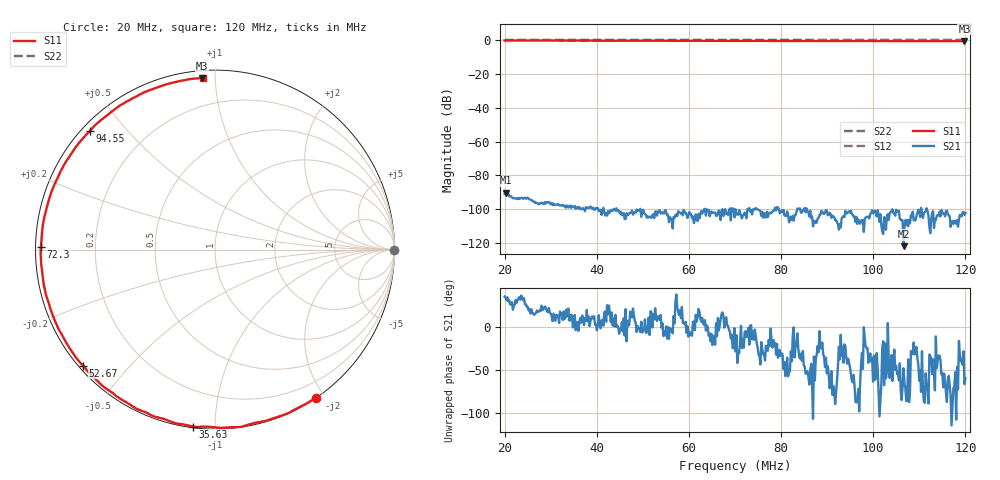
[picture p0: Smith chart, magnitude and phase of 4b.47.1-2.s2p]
! Anritsu VNA Master:  Model: MS2036C/10/77
! SN:  1601066
! /bd0/18may26.balun/4b.47.s2p
! Existing Calibration Information:
! TYPE:  Current Settings,  Active Cal Settings
! TIME:  05/26/2018 04:35:58 PM,  05/26/2018 04:28:16 PM
! INTERNAL TEMP:  56.0 C,  56.3 C
! # POINTS:  500,  500
! START FREQ:  20.000 MHz,  20.000 MHz
! STOP FREQ:  120.000 MHz,  120.000 MHz
! SOURCE POWER:  High,  High
! IFBW:  50 Hz,  50 Hz
! AVG FACTOR:  1 ,  1
! REF PLANE 1:  0 mm,  0 mm
! REF PLANE 2:  0 mm,  0 mm
! CAL TYPE:  Full S11,  Full S11
! CAL METHOD:  SOLT,  SOLT
! CAL LINE TYPE:  Coax,  Coax
! DUT PORT 1:  K-Conn(M),  K-Conn(M)
! DUT PORT 2:  K-Conn(M),  K-Conn(M)
! CAL STATUS:  OK: Accuracy High,  --
# GHZ S DB R 50.0
! FREQ.GHZ  S11DB  S11A  S21DB  S21A  S12DB  S12A  S22DB  S22A
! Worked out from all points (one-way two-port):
!   500 points, 20 MHz to 120 MHz, reference 50 ohm
!   highest |S21| = -90.17 dB at 20.2 MHz (marker M1); lowest = -121.9 dB at 106.6 MHz (marker M2)
!   lowest |S11| = -0.4 dB at 119.8 MHz (marker M3), VSWR 47.26, Z = 1.96 + j46.2 ohm
!   |S11| at or under -10 dB: nowhere
!   |S22| runs from 0.0 to 0.0 dB; largest |S21 - S12| = 1
!   S11 on the Smith chart (normalised r, x): 20 MHz: 0.01, -1.89; 35.63 MHz: 0.01, -0.88; 52.67 MHz: 0.01, -0.38; 72.3 MHz: 0.02, +0.01; 94.55 MHz: 0.02, +0.40; 120 MHz: 0.04, +0.93
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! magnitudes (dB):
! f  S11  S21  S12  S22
! 20 MHz  0.0  -90.9  0.0  0.0
! 20.2 MHz  0.0  -90.2  0.0  0.0
! 23.81 MHz  0.0  -93.3  0.0  0.0
! 27.82 MHz  -0.1  -96.6  0.0  0.0
! 29.82 MHz  0.0  -96.2  0.0  0.0
! 33.63 MHz  -0.1  -98.0  0.0  0.0
! 35.63 MHz  -0.1  -99.4  0.0  0.0
! 36.83 MHz  -0.1  -99.7  0.0  0.0
! 37.84 MHz  -0.1  -99.3  0.0  0.0
! 39.44 MHz  -0.1  -100.3  0.0  0.0
! 43.25 MHz  -0.1  -100.4  0.0  0.0
! 47.25 MHz  -0.2  -102.2  0.0  0.0
! 52.67 MHz  -0.2  -101.4  0.0  0.0
! 53.47 MHz  -0.2  -100.8  0.0  0.0
! 70.1 MHz  -0.3  -100.0  0.0  0.0
! 72.3 MHz  -0.3  -102.8  0.0  0.0
! 86.73 MHz  -0.3  -104.1  0.0  0.0
! 94.55 MHz  -0.3  -101.7  0.0  0.0
! 103.4 MHz  -0.3  -106.3  0.0  0.0
! 106.6 MHz  -0.4  -121.9  0.0  0.0
! 119.8 MHz  -0.4  -103.3  0.0  0.0
! 120 MHz  -0.4  -102.2  0.0  0.0
